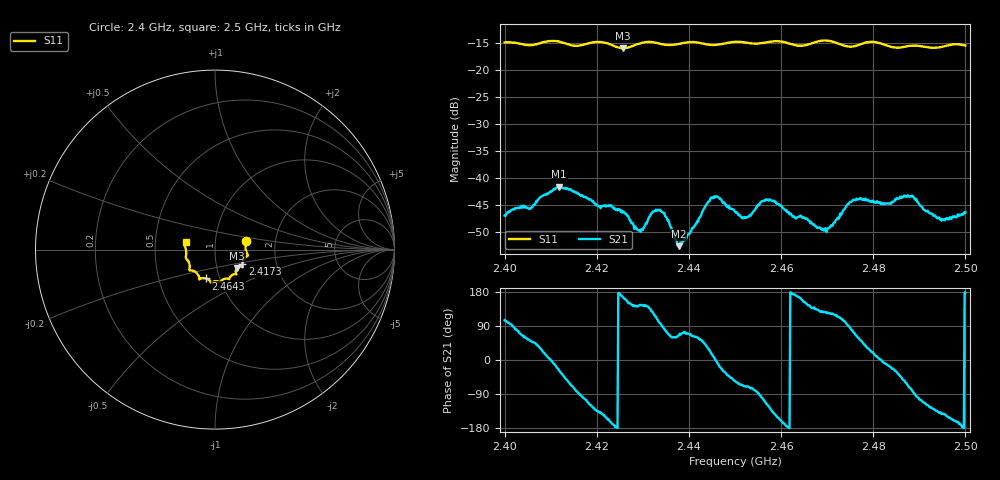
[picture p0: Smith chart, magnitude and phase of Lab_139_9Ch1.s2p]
# Hz S RI R 50
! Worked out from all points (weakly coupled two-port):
!   601 points, 2.4 GHz to 2.5 GHz, reference 50 ohm
!   highest |S21| = -41.56 dB at 2.4118 GHz (marker M1); lowest = -52.6 dB at 2.4378 GHz (marker M2)
!   lowest |S11| = -15.9 dB at 2.4257 GHz (marker M3), VSWR 1.38, Z = 62.4 - j13.1 ohm
!   |S11| at or under -10 dB: start of sweep to end of sweep
!   S12 and S22 are empty: the file has one direction only
!   S11 on the Smith chart (normalised r, x): 2.4 GHz: 1.41, +0.15; 2.4173 GHz: 1.34, -0.23; 2.4643 GHz: 0.86, -0.28; 2.5 GHz: 0.72, +0.06
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2.4e9  0.1736 0.0497  -0.00117 0.00434  0 0  0 0
2.405667e9  0.1703 0.00536  0.00335 0.00406  0 0  0 0
2.411833e9  0.1805 -0.0359  0.00737 -0.00393  0 0  0 0
2.416667e9  0.1529 -0.0747  -0.000582 -0.00687  0 0  0 0
2.417333e9  0.1524 -0.0823  -0.00145 -0.00652  0 0  0 0
2.425667e9  0.1224 -0.1024  -0.00479 0.00119  0 0  0 0
2.4295e9  0.1172 -0.1341  -0.00262 0.0018  0 0  0 0
2.433333e9  0.1127 -0.1368  -0.0012 0.00494  0 0  0 0
2.435e9  0.1017 -0.1384  0.00106 0.00426  0 0  0 0
2.437833e9  0.0836 -0.1536  0.000995 0.00212  0 0  0 0
2.445167e9  0.0541 -0.1623  0.00649 0.00136  0 0  0 0
2.45e9  0.0295 -0.181  0.00277 -0.00401  0 0  0 0
2.4525e9  0.0205 -0.1784  0.0015 -0.00403  0 0  0 0
2.457167e9  -0.0145 -0.1814  -0.00314 -0.00543  0 0  0 0
2.464333e9  -0.0503 -0.1607  -0.00423 0.00147  0 0  0 0
2.466667e9  -0.0764 -0.1598  -0.00279 0.00258  0 0  0 0
2.470333e9  -0.0874 -0.1656  -0.00189 0.0029  0 0  0 0
2.476e9  -0.1164 -0.1195  0.00218 0.00588  0 0  0 0
2.483333e9  -0.141 -0.0895  0.00563 -0.00147  0 0  0 0
2.488e9  -0.1605 -0.0507  0.00189 -0.00647  0 0  0 0
2.495e9  -0.1644 0.00998  -0.00325 -0.0026  0 0  0 0
2.5e9  -0.1634 0.0421  -0.00481 0.000236  0 0  0 0
